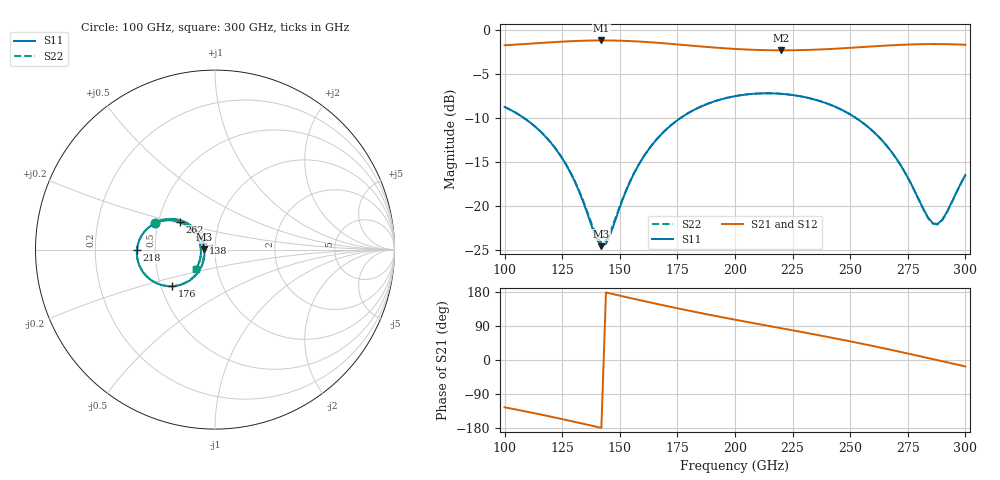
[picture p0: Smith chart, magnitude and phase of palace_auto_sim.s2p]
#  GHZ S DB R 50
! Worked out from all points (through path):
!   101 points, 100 GHz to 300 GHz, reference 50 ohm
!   highest |S21| = -1.22 dB at 142 GHz (marker M1); lowest = -2.3 dB at 220 GHz (marker M2)
!   group delay of S21, straight-line fit = 3.44 ps
!   lowest |S11| = -24.6 dB at 142 GHz (marker M3), VSWR 1.13, Z = 44.4 + j0.0551 ohm
!   |S11| at or under -10 dB: 108.3 GHz to 176.5 GHz (68.18 GHz wide, 47.9 % of centre); 252.4 GHz to end of sweep
!   |S22| runs from -24.2 to -7.2 dB; largest |S21 - S12| = 9.4e-14
!   S11 on the Smith chart (normalised r, x): 100 GHz: 0.48, +0.17; 138 GHz: 0.87, +0.06; 176 GHz: 0.57, -0.26; 218 GHz: 0.39, -0.00; 262 GHz: 0.64, +0.21; 300 GHz: 0.79, -0.17
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100  -8.76 155.5  -1.76 -124.8  -1.76 -124.8  -8.75 155.9
120  -12.80 137.5  -1.43 -149.5  -1.43 -149.5  -12.77 138.2
128  -15.94 134.3  -1.31 -160.0  -1.31 -160.0  -15.88 135.2
134  -19.46 138.5  -1.25 -168.1  -1.25 -168.1  -19.33 139.7
138  -22.44 151.0  -1.23 -173.6  -1.23 -173.6  -22.18 152.2
142  -24.56 179.4  -1.22 -179.1  -1.22 -179.1  -24.15 179.6
146  -23.15 -148.7  -1.22 175.3  -1.22 175.3  -22.86 -149.9
152  -18.75 -129.3  -1.26 167.1  -1.26 167.1  -18.65 -130.5
158  -15.42 -126.7  -1.33 158.8  -1.33 158.8  -15.37 -127.5
168  -11.87 -132.2  -1.51 145.5  -1.51 145.5  -11.85 -132.8
176  -10.08 -139.3  -1.69 135.2  -1.69 135.2  -10.07 -139.7
188  -8.42 -150.9  -1.96 120.4  -1.96 120.4  -8.41 -151.2
200  -7.54 -162.6  -2.18 106.4  -2.18 106.4  -7.53 -162.8
218  -7.24 -179.8  -2.33 86.1  -2.33 86.1  -7.23 -179.9
220  -7.27 178.3  -2.33 83.9  -2.33 83.9  -7.27 178.2
234  -7.88 165.3  -2.27 68.1  -2.27 68.1  -7.88 165.1
250  -9.61 150.9  -2.05 49.2  -2.05 49.2  -9.61 150.8
262  -12.05 141.9  -1.85 34.2  -1.85 34.2  -12.05 141.7
268  -13.87 139.3  -1.76 26.4  -1.76 26.4  -13.88 139.1
286  -21.97 175.4  -1.63 2.2  -1.63 2.2  -22.03 175.4
290  -21.54 -160.9  -1.63 -3.3  -1.63 -3.3  -21.60 -160.7
300  -16.48 -134.9  -1.71 -17.0  -1.71 -17.0  -16.49 -134.6
